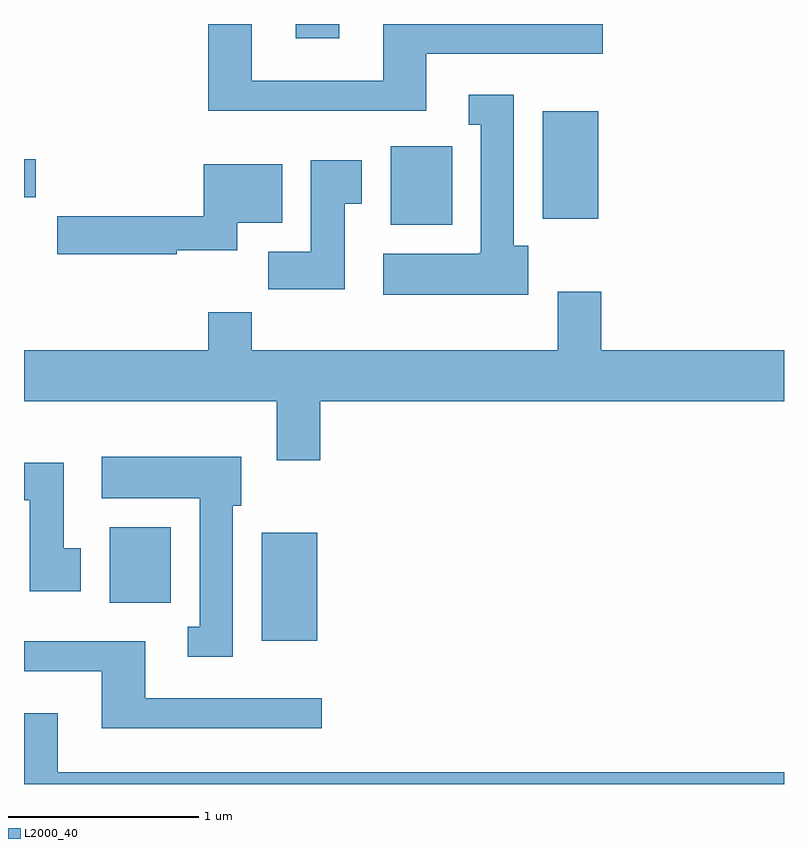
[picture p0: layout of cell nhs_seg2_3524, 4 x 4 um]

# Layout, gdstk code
import gdstk
lib = gdstk.Library(unit=1e-6, precision=1e-09)
def R(c, l, rs):  # rectangles x0, y0, x1, y1
    for r in rs: c.add(gdstk.rectangle(r[:2], r[2:], *l))
def P(c, l, *ps):  # polygons
    for p in ps: c.add(gdstk.Polygon(p, *l))
L2000_40 = (2000, 40)

nhs_seg2_3524 = lib.new_cell('nhs_seg2_3524')
R(nhs_seg2_3524, L2000_40, [(288.861,1102.556,289.154,1103.124), (288.061,1102.756,288.384,1103.154), (289.541,1104.746,289.864,1105.159), (290.341,1104.776,290.634,1105.344), (287.611,1104.891,287.674,1105.089), (289.041,1105.726,289.269,1105.802)])
P(nhs_seg2_3524, L2000_40, [(289.729,1105.646),(290.658,1105.646),(290.658,1105.802),(289.501,1105.802),(289.501,1105.504),(288.809,1105.504),(288.809,1105.802),(288.581,1105.802),(288.581,1105.346),(289.729,1105.346)],
  [(290.264,1104.634),(290.189,1104.634),(290.189,1105.429),(289.953,1105.429),(289.953,1105.271),(290.016,1105.271),(290.016,1104.6),(290.01,1104.6),(290.01,1104.594),(289.501,1104.594),(289.501,1104.376),(290.264,1104.376)],
  [(289.299,1104.856),(289.389,1104.856),(289.389,1105.084),(289.121,1105.084),(289.121,1104.604),(288.896,1104.604),(288.896,1104.406),(289.299,1104.406)],
  [(288.414,1104.611),(288.734,1104.611),(288.734,1104.756),(288.969,1104.756),(288.969,1105.064),(288.556,1105.064),(288.556,1104.789),(287.786,1104.789),(287.786,1104.591),(288.414,1104.591)],
  [(289.169,1103.816),(291.611,1103.816),(291.611,1104.084),(290.649,1104.084),(290.649,1104.394),(290.421,1104.394),(290.421,1104.084),(288.809,1104.084),(288.809,1104.284),(288.581,1104.284),(288.581,1104.084),(287.611,1104.084),(287.611,1103.816),(288.941,1103.816),(288.941,1103.506),(289.169,1103.506)],
  [(288.709,1103.266),(288.754,1103.266),(288.754,1103.524),(288.021,1103.524),(288.021,1103.306),(288.536,1103.306),(288.536,1102.629),(288.473,1102.629),(288.473,1102.471),(288.709,1102.471)],
  [(287.909,1103.044),(287.819,1103.044),(287.819,1103.494),(287.611,1103.494),(287.611,1103.296),(287.641,1103.296),(287.641,1102.816),(287.909,1102.816)],
  [(289.178,1102.254),(288.249,1102.254),(288.249,1102.554),(287.611,1102.554),(287.611,1102.396),(288.021,1102.396),(288.021,1102.096),(289.178,1102.096)],
  [(291.611,1101.864),(287.789,1101.864),(287.789,1102.174),(287.611,1102.174),(287.611,1101.802),(291.611,1101.802)])

lib.write_gds('nhs_seg2_3524.gds')
